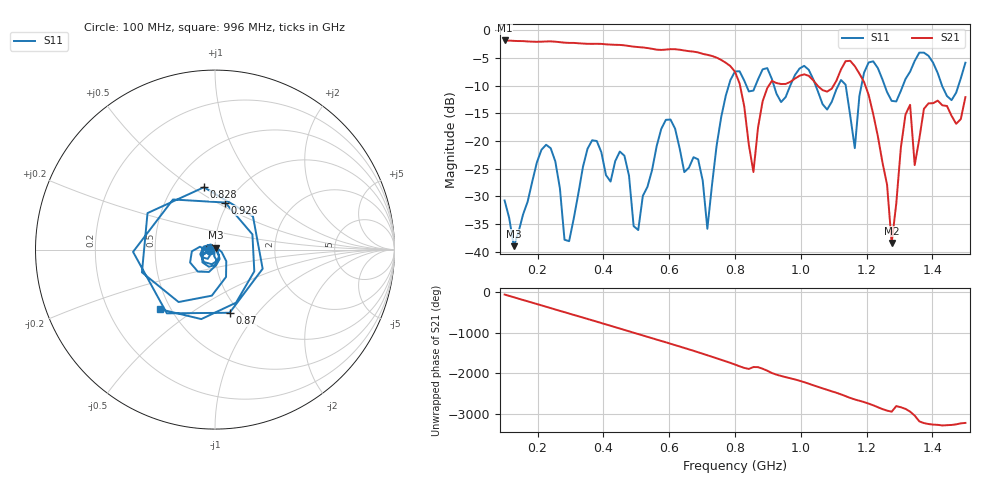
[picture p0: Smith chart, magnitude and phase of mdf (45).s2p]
! NanoVNA-App
! Date: 2025-09-25 15:38:47
! Start: 100MHz Stop: 1,5GHz Points: 101
! S-Parameter data: F S11 S21 S12 S22
# Hz S RI R 50
!  Frequency  S11_Real  S11_Imag  S21_Real  S21_Imag  S12_Real  S12_Imag  S22_Real  S22_Imag
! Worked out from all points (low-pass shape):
!   101 points, 100 MHz to 1.5 GHz, reference 50 ohm
!   highest |S21| = -1.80 dB at 100 MHz (marker M1); lowest = -38.5 dB at 1.276 GHz (marker M2)
!   |S21| within 3 dB of the highest: start of sweep to 739.3 MHz
!   lowest |S11| = -39.0 dB at 128 MHz (marker M3), VSWR 1.02, Z = 50.3 + j1.07 ohm
!   |S11| at or under -10 dB: start of sweep to 780.9 MHz; 1.045 GHz to 1.113 GHz (68.07 MHz wide, 6.31 % of centre); 1.255 GHz to 1.31 GHz (55.02 MHz wide, 4.29 % of centre)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
!   S12 and S22 are empty: the file has one direction only
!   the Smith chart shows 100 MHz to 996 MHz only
!   S11 on the Smith chart (normalised r, x): 100 MHz: 0.94, -0.01; 828 MHz: 0.70, +0.56; 870 MHz: 0.90, -0.73; 926 MHz: 0.97, +0.55; 996 MHz: 0.44, -0.36
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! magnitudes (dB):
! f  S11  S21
! 100 MHz  -30.8  -1.8
! 128 MHz  -39.0  -1.9
! 212 MHz  -21.6  -2.0
! 282 MHz  -37.9  -2.2
! 338 MHz  -24.7  -2.4
! 464 MHz  -22.7  -2.7
! 506 MHz  -36.1  -3.0
! 576 MHz  -17.8  -3.5
! 716 MHz  -35.9  -4.4
! 800 MHz  -7.4  -7.5
! 828 MHz  -9.1  -13.7
! 856 MHz  -10.9  -25.6
! 870 MHz  -8.8  -17.6
! 926 MHz  -11.4  -9.5
! 996 MHz  -6.9  -8.2
! 1.038 GHz  -8.9  -9.0
! 1.164 GHz  -21.3  -6.4
! 1.192 GHz  -7.7  -9.3
! 1.276 GHz  -12.7  -38.5
! 1.332 GHz  -7.5  -13.5
! 1.346 GHz  -5.5  -24.4
! 1.5 GHz  -5.8  -12.1
